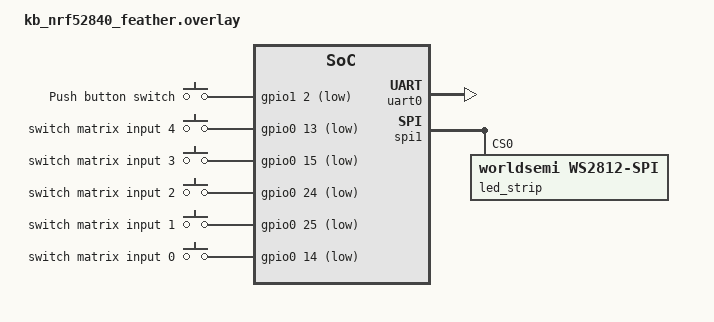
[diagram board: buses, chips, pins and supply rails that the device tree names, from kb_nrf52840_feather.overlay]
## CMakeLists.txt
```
#
# Copyright (c) 2019 Nordic Semiconductor ASA
#
# SPDX-License-Identifier: LicenseRef-Nordic-5-Clause
#
cmake_minimum_required(VERSION 3.20.0)

list(APPEND BOARD_ROOT ${CMAKE_CURRENT_SOURCE_DIR})
list(APPEND DTS_ROOT_BINDINGS ${CMAKE_CURRENT_SOURCE_DIR}/dts/bindings)
find_package(Zephyr REQUIRED HINTS $ENV{ZEPHYR_BASE})
project(peripheral_hids_keyboard)

FILE(GLOB app_sources src/*.c)
# NORDIC SDK APP START
target_sources(app PRIVATE ${app_sources})
# NORDIC SDK APP END

set(CMAKE_EXPORT_COMPILE_COMMANDS ON)

zephyr_library_include_directories(${ZEPHYR_BASE}/samples/bluetooth)

add_subdirectory(src/kb_ble)
```

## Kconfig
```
source "Kconfig.zephyr"

menu "KeyBird"

config KB_NAME_LEFT 
	string
	default "KeyBird Left"
	depends on KB_LEFT

config KB_NAME_RIGHT
	string 
	default "KeyBird Right"
	depends on KB_RIGHT

choice KEYBOARD_SIDE
	bool "Keyboard Side"
	default KB_LEFT

config KB_LEFT
	bool "Left"
config KB_RIGHT
	bool "Right"

endchoice

config BT_DEVICE_NAME 
	string
	default "KeyBird Left" if KB_LEFT
	default "KeyBird Right" if KB_RIGHT

endmenu
```

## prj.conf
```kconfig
CONFIG_NCS_SAMPLES_DEFAULTS=y

CONFIG_BT=y
CONFIG_LOG=y
CONFIG_BT_DEBUG_LOG=y
CONFIG_BT_CENTRAL=y
CONFIG_BT_PERIPHERAL=y
CONFIG_BT_MAX_CONN=2
CONFIG_BT_MAX_PAIRED=2
CONFIG_BT_KEYS_OVERWRITE_OLDEST=y
CONFIG_BT_SMP=y
CONFIG_BT_SMP_SC_PAIR_ONLY=y
CONFIG_BT_L2CAP_TX_BUF_COUNT=5
# CONFIG_KB_LEFT=y
# CONFIG_BT_DEVICE_NAME="KeyBird"
CONFIG_BT_DEVICE_APPEARANCE=961

#needed for BLE central
CONFIG_BT_GATT_CLIENT=y
CONFIG_BT_GATT_DM=y
CONFIG_HEAP_MEM_POOL_SIZE=2048
CONFIG_BT_HOGP=y #HID over GATT protocol

CONFIG_BT_SCAN=y
CONFIG_BT_SCAN_FILTER_ENABLE=y
CONFIG_BT_SCAN_UUID_CNT=1
CONFIG_BT_PRIVACY=y

#needed for BLE peripheral
CONFIG_BT_BAS=y
CONFIG_BT_HIDS=y
CONFIG_BT_HIDS_MAX_CLIENT_COUNT=1
CONFIG_BT_HIDS_DEFAULT_PERM_RW_ENCRYPT=y
CONFIG_BT_GATT_UUID16_POOL_SIZE=40
CONFIG_BT_GATT_CHRC_POOL_SIZE=20

CONFIG_BT_CONN_CTX=y

CONFIG_BT_DIS=y
CONFIG_BT_DIS_PNP=y
CONFIG_BT_DIS_MANUF="NordicSemiconductor"
CONFIG_BT_DIS_PNP_VID_SRC=2
CONFIG_BT_DIS_PNP_VID=0x1915
CONFIG_BT_DIS_PNP_PID=0xEEEF
CONFIG_BT_DIS_PNP_VER=0x0100

#doubled from 2048
CONFIG_SYSTEM_WORKQUEUE_STACK_SIZE=4096 

CONFIG_BT_SETTINGS=y
CONFIG_FLASH=y
CONFIG_FLASH_PAGE_LAYOUT=y
CONFIG_FLASH_MAP=y
CONFIG_NVS=y
CONFIG_SETTINGS=y

CONFIG_SPI=y
CONFIG_WS2812_STRIP_SPI=y
CONFIG_LED_STRIP=y
CONFIG_LED_STRIP_LOG_LEVEL_DBG=y
CONFIG_WS2812_STRIP=y



# CONFIG_DK_LIBRARY=y

CONFIG_LOG_DEFAULT_LEVEL=4

CONFIG_THREAD_MONITOR=y
CONFIG_INIT_STACKS=y
```

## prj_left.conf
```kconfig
CONFIG_KB_LEFT=y
CONFIG_BT_DEVICE_NAME="KeyBird Left"
```

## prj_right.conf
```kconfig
CONFIG_KB_RIGHT=y
CONFIG_BT_DEVICE_NAME="KeyBird Right"
```

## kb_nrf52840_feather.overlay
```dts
&uart0 {
    status = "ok"; 
};
&spi1 {
    status = "ok"; 
};
&i2c0 {
    status = "disabled"; 
};


/ {
	mtrxout {
        compatible = "kb-mtrx-out";
        swout0: sw_out_5{
            gpios = <&gpio0 27 GPIO_ACTIVE_LOW>;
            label = "switch matrix output 5"; 
        };
        swout1: sw_out_4{
            gpios = <&gpio0 26 GPIO_ACTIVE_LOW>;
            label = "switch matrix output 4"; 
        };
        swout2: sw_out_3{
            gpios = <&gpio0 7 GPIO_ACTIVE_LOW>;
            label = "switch matrix output 3"; 
        };
        swout3: sw_out_2{
            gpios = <&gpio1 8 GPIO_ACTIVE_LOW>;
            label = "switch matrix output 2"; 
        };
        swout4: sw_out_1{
            gpios = <&gpio0 11 GPIO_ACTIVE_LOW>;
            label = "switch matrix output 1"; 
        };
        swout5: sw_out_0{
            gpios = <&gpio0 12 GPIO_ACTIVE_LOW>;
            label = "switch matrix output 0"; 
        };
		pwr: pwr {
            gpios = <&gpio0 4 GPIO_ACTIVE_LOW>;
            label = "power"; 
        };
	};

	buttons {
		compatible = "gpio-keys";
		button0: button_0 {
			gpios = <&gpio1 2 (GPIO_PULL_UP | GPIO_ACTIVE_LOW)>;
			label = "Push button switch";
			zephyr,code = <INPUT_KEY_0>;
		};
        swin0: sw_in_4 {
            gpios = <&gpio0 13 (GPIO_PULL_UP| GPIO_ACTIVE_LOW)>; 
            label = "switch matrix input 4"; 
        };
        swin1: sw_in_3 {
            gpios = <&gpio0 15 (GPIO_PULL_UP| GPIO_ACTIVE_LOW)>; 
            label = "switch matrix input 3"; 
        };
        swin2: sw_in_2 {
            gpios = <&gpio0 24 (GPIO_PULL_UP| GPIO_ACTIVE_LOW)>; 
            label = "switch matrix input 2"; 
        };
        swin3: sw_in_1 {
            gpios = <&gpio0 25 (GPIO_PULL_UP| GPIO_ACTIVE_LOW)>; 
            label = "switch matrix input 1"; 
        };
        swin4: sw_in_0 {
            gpios = <&gpio0 14 (GPIO_PULL_UP | GPIO_ACTIVE_LOW)>; 
            label = "switch matrix input 0"; 
        };
	};
};


&pinctrl {
	uart0_default: uart0_default {
		group1 {
			psels = <NRF_PSEL(UART_TX, 1, 9)>,
				<NRF_PSEL(UART_RX, 0, 8)>;
		};
	};

	uart0_sleep: uart0_sleep {
		group1 {
			psels = <NRF_PSEL(UART_TX, 1, 9)>,
				<NRF_PSEL(UART_RX, 0, 8)>;
			low-power-enable;
		};
	};

    spi1_default: spi1_default {
        group1 {
            psels = <NRF_PSEL(SPIM_MOSI, 0, 16)>,
                <NRF_PSEL(SPIM_SCK, 0, 4)>,
                <NRF_PSEL(SPIM_MISO, 0, 5)>;    
        };
    };
    spi1_sleep: spi1_sleep {
        group1 {
            psels = <NRF_PSEL(SPIM_MOSI, 0, 16)>,
                <NRF_PSEL(SPIM_SCK, 0, 4)>,
                <NRF_PSEL(SPIM_MISO, 0, 5)>;    
        };
    };
};


#include <zephyr/dt-bindings/led/led.h>
#include "nrf52-bindings.h" 

&spi1 { 
	compatible = "nordic,nrf-spim";
	led_strip: ws2812@0 {
		compatible = "worldsemi,ws2812-spi";

		/* SPI */
		reg = <0>; /* ignored, but necessary for SPI bindings */
		spi-max-frequency = <SPI_FREQ>;

		/* WS2812 */
		chain-length = <16>; /* arbitrary; change at will */
		color-mapping = <LED_COLOR_ID_GREEN
				 LED_COLOR_ID_RED
				 LED_COLOR_ID_BLUE>;
		spi-one-frame = <ONE_FRAME>;
		spi-zero-frame = <ZERO_FRAME>;
	};
};

// &pinctrl {
// 	i2s0_default_alt: i2s0_default_alt {
// 		group1 {
// 			psels = <NRF_PSEL(I2S_SCK_M, 0, 20)>,
// 				<NRF_PSEL(I2S_LRCK_M, 0, 19)>,
// 				<NRF_PSEL(I2S_SDOUT, 0, 18)>,
// 				<NRF_PSEL(I2S_SDIN, 0, 21)>;
// 		};
// 	};
// };

// i2s_led: &i2s0 {
// 	status = "okay";
// 	pinctrl-0 = <&i2s0_default_alt>;
// 	pinctrl-names = "default";

// 	led_strip: ws2812@0 {
// 		compatible = "worldsemi,ws2812-i2s";
//         i2s-dev = <&i2s0>;

// 		reg = <0>;
// 		chain-length = <1>; /* arbitrary; change at will */
// 		color-mapping = <LED_COLOR_ID_GREEN
// 					LED_COLOR_ID_RED
// 					LED_COLOR_ID_BLUE>;
// 		out-active-low;
// 		reset-delay = <120>;
// 	};
// };

/ {
	aliases {
		led-strip = &led_strip;
	};
};
```

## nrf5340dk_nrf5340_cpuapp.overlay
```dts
// To get started, press Ctrl+Space to bring up the completion menu and view the available nodes.

// You can also use the buttons in the sidebar to perform actions on nodes.
// Actions currently available include:

// * Enabling / disabling the node
// * Adding the bus to a bus
// * Removing the node
// * Connecting ADC channels

// For more help, browse the DeviceTree documentation at https://docs.zephyrproject.org/latest/guides/dts/index.html
// You can also visit the nRF DeviceTree extension documentation at https://docs.nordicsemi.com/bundle/nrf-connect-vscode/page/guides/ncs_configure_app.html#devicetree-support-in-the-extension
/ {
    leds {
        leds4: led_4{
            gpios = <&gpio0 5 GPIO_ACTIVE_HIGH>;
            label = "External LED 1"; 
        };
    };
};
```

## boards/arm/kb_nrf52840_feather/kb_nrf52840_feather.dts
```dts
/*
 * Copyright (c) 2020 Tobias Svehagen
 *
 * SPDX-License-Identifier: Apache-2.0
 */

/dts-v1/;
#include <nordic/nrf52840_qiaa.dtsi>
#include "feather_connector.dtsi"
#include "kb_nrf52840_feather-pinctrl.dtsi"
#include <zephyr/dt-bindings/input/input-event-codes.h>

/ {
	model = "Adafruit Feather nRF52840 Express";
	compatible = "adafruit,feather-nrf52840";

	chosen {
		zephyr,console = &uart0;
		zephyr,shell-uart = &uart0;
		zephyr,uart-mcumgr = &uart0;
		zephyr,bt-mon-uart = &uart0;
		zephyr,bt-c2h-uart = &uart0;
		zephyr,sram = &sram0;
		zephyr,flash = &flash0;
		zephyr,code-partition = &slot0_partition;
		zephyr,ieee802154 = &ieee802154;
	};

	leds {
		compatible = "gpio-leds";
		led0: led_0 {
			gpios = <&gpio1 15 0>;
			label = "Red LED";
		};
		led1: led_1 {
			gpios = <&gpio1 10 0>;
			label = "Blue LED";
		};
	};

	vbatt {
		compatible = "voltage-divider";
		io-channels = <&adc 5>;
		output-ohms = <100000>;
		full-ohms = <(100000 + 100000)>;
	};

	/* These aliases are provided for compatibility with samples */
	aliases {
		led0 = &led0;
		led1 = &led1;
		sw0 = &button0;
		watchdog0 = &wdt0;
		spi-flash0 = &gd25q16;
	};
};

&adc {
	status = "okay";
};

&uicr {
	gpio-as-nreset;
};

&gpiote {
	status = "okay";
};

&gpio0 {
	status = "okay";
};

&gpio1 {
	status = "okay";
};

&uart0 {
	compatible = "nordic,nrf-uart";
	current-speed = <115200>;
	status = "okay";
	pinctrl-0 = <&uart0_default>;
	pinctrl-1 = <&uart0_sleep>;
	pinctrl-names = "default", "sleep";
};

&i2c0 {
	compatible = "nordic,nrf-twi";
	status = "okay";
	pinctrl-0 = <&i2c0_default>;
	pinctrl-1 = <&i2c0_sleep>;
	pinctrl-names = "default", "sleep";
};

&spi1 {
	compatible = "nordic,nrf-spi";
	status = "okay";
	pinctrl-0 = <&spi1_default>;
	pinctrl-1 = <&spi1_sleep>;
	pinctrl-names = "default", "sleep";
};

&qspi {
	status = "okay";
	pinctrl-0 = <&qspi_default>;
	pinctrl-1 = <&qspi_sleep>;
	pinctrl-names = "default", "sleep";
	gd25q16: gd25q16@0 {
		compatible = "nordic,qspi-nor";
		reg = <0>;
		writeoc = "pp4o";
		readoc = "read4io";
		sck-frequency = <16000000>;
		jedec-id = [c8 40 15];
		size = <16777216>;
		has-dpd;
		t-enter-dpd = <20000>;
		t-exit-dpd = <20000>;
		quad-enable-requirements = "S2B1v1";
	};
};

&ieee802154 {
	status = "okay";
};

&flash0 {

	partitions {
		compatible = "fixed-partitions";
		#address-cells = <1>;
		#size-cells = <1>;

		boot_partition: partition@0 {
			label = "mcuboot";
			reg = <0x00000000 0x0000C000>;
		};
		slot0_partition: partition@c000 {
			label = "image-0";
			reg = <0x0000C000 0x00067000>;
		};
		slot1_partition: partition@73000 {
			label = "image-1";
			reg = <0x00073000 0x00067000>;
		};
		scratch_partition: partition@da000 {
			label = "image-scratch";
			reg = <0x000da000 0x0001e000>;
		};

		/*
		 * The flash starting at 0x000f8000 and ending at
		 * 0x000fffff is reserved for use by the application.
		 */

		/* Storage partition will be used by FCB/NFFS/NVS if enabled. */
		storage_partition: partition@f8000 {
			label = "storage";
			reg = <0x000f8000 0x00008000>;
		};
	};
};

zephyr_udc0: &usbd {
	compatible = "nordic,nrf-usbd";
	status = "okay";
};
```

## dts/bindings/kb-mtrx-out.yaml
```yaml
# Copyright (c) 2018, Linaro Limited
# SPDX-License-Identifier: Apache-2.0

description: |
  This allows you to define a group of keyboard matrix outputs. Each output in the group is
  controlled by a GPIO. Each output is defined in a child node of the
  gpio-outputs node.

  Here is an example which defines three LEDs in the node /leds:

  / {
  	mtrxout {
  		compatible = "kb-mtrx-out";
  		mx_out1 {
  			gpios = <&gpio0 1 GPIO_ACTIVE_LOW>;
  		};
  		mx_out2 {
  			gpios = <&gpio0 2 GPIO_ACTIVE_HIGH>;
  		};
  		mx_out3 {
  			gpios = <&gpio1 15 (GPIO_PULL_UP | GPIO_ACTIVE_LOW)>;
  		};
  	};
  };

  Above:

  - led_0 is pin 1 on gpio0. The LED is on when the pin is low,
    and off when the pin is high.
  - led_1 is pin 2 on gpio0. The LED is on when the pin is high,
    and off when it is low.
  - led_2 is pin 15 on gpio1. The LED is on when the pin is low,
    and the pin's internal pull-up resistor should be enabled.

compatible: "kb-mtrx-out"

child-binding:
  description: GPIO keyboard matrix out child node
  properties:
    gpios:
      type: phandle-array
      required: true
    label:
      type: string
      description: |
        Human readable string describing the matrix output. It can be 
        used by an application to identify this keyboard matrix out 
        column or to retrieve its number/index (i.e. child node number) 
        on the parent device.
```

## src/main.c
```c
#include <hal/nrf_gpio.h>
#include <zephyr/bluetooth/bluetooth.h>
#include <zephyr/drivers/gpio.h>
#include <zephyr/kernel.h>
#include <zephyr/settings/settings.h>

// Neopixel library 
#include <zephyr/drivers/led_strip.h>
#include <zephyr/device.h>
#include <zephyr/drivers/spi.h>
#include <zephyr/sys/util.h>

#include "btns.h"
#include "kb_ble/kb_ble.h"
#include "kb_ble/kb_cent.h"
#include "kb_ble/kb_periph.h"


#define ADV_LED_BLINK_INTERVAL 1000

static const struct gpio_dt_spec adv_status_led = GPIO_DT_SPEC_GET(DT_NODELABEL(led1), gpios);

#define NEOPIXEL_NODE DT_ALIAS(led_strip)
#define NEOPIXEL_NUM_LEDS DT_PROP(DT_ALIAS(led_strip), chain_length)

#define RGB(_r, _g, _b) { .r = (_r), .g = (_g), .b = (_b) }
#define NEO_RED RGB(0x0f, 0x00, 0x00)

static const struct led_rgb colors[] = {
	RGB(0x0f, 0x00, 0x00), /* red */
	RGB(0x00, 0x0f, 0x00), /* green */
	RGB(0x00, 0x00, 0x0f), /* blue */
};

struct led_rgb pixels[NEOPIXEL_NUM_LEDS];

static const struct device *neopixels = DEVICE_DT_GET(NEOPIXEL_NODE);
static volatile const struct device *foo;  

int main(void) {
    int blink_status = 0;
    gpio_pin_configure_dt(&adv_status_led, GPIO_OUTPUT);

    foo  = neopixels;

	if (device_is_ready(neopixels)) {
        printk("Device ready\n");
	} else {
        printk("Device not ready\n");
	}

    pixels[0].b = 0x0f;
    pixels[0].g = 0x0f;
    pixels[0].r = 0x0f;

    int rc;
    while(1) {
        printk("Turning LED on...\n");
        rc = led_strip_update_rgb(neopixels, pixels, NEOPIXEL_NUM_LEDS);
        if(rc != 0) {
            printk("error\n"); 

        }
        
        k_sleep(K_MSEC(ADV_LED_BLINK_INTERVAL));
        printk("LED turned on\n");
    }

    // bt_enable must come before settings_load(); not 100% sure why, but bt_enable appears
    // to have a bt_settings_init usring similar macros
    // if (ble_init()) {
    //     return 0;
    // }

    // if (IS_ENABLED(CONFIG_SETTINGS)) {
    //     printk("loading settings\n");
    //     settings_load();
    // }
    // kb_periph_init();
    // printk("Intialized HID keyboard device\n");
    // kb_cent_init();
    // printk("Initialize HOGP\n");

    // printk("Bluetooth initialized\n");
    // btns_init();


    for (;;) {
        if (kb_periph_is_adv()) {
            gpio_pin_set_dt(&adv_status_led, (++blink_status) % 2);
        } else {
            gpio_pin_set_dt(&adv_status_led, 0);
        }
        k_sleep(K_MSEC(ADV_LED_BLINK_INTERVAL));
        /* Battery level simulation */
        kb_periph_bas_notify();
    }
}
```

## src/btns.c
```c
#include "btns.h"

#include <hal/nrf_gpio.h>
#include <zephyr/drivers/gpio.h>
#include <zephyr/kernel.h>
#include <zephyr/sys/printk.h>

#include "common.h"
#include "kb_ble/kb_cent.h"
#include "kb_ble/kb_hid_common.h"
#include "kb_ble/kb_periph.h"
#include "scan_codes.h"

#define GPIO_NODE_0 DT_NODELABEL(gpio0)
#define GPIO_NAME_0 DEVICE_DT_NAME(GPIO_NODE_0)

#define GPIO_NODE_1 DT_NODELABEL(gpio1)
#define GPIO_NAME_1 DEVICE_DT_NAME(GPIO_NODE_1)

#define KEY_MATRIX_OUT_COUNT 6
#define KEY_MATRIX_IN_COUNT 5
#define SLEEP_TIME_MS 2


static struct k_work_delayable btn_scan_work;

static const struct gpio_dt_spec pwr_pin = GPIO_DT_SPEC_GET(DT_NODELABEL(pwr), gpios);
static const struct gpio_dt_spec usr_btn = GPIO_DT_SPEC_GET(DT_NODELABEL(button0), gpios);

static const struct gpio_dt_spec key_mtrx_in[KEY_MATRIX_IN_COUNT];
static const struct gpio_dt_spec key_mtrx_out[KEY_MATRIX_OUT_COUNT];

static kb_key_t key_mtrx[KEY_MATRIX_IN_COUNT][KEY_MATRIX_OUT_COUNT];

static const struct gpio_dt_spec key_mtrx_in[KEY_MATRIX_IN_COUNT] = {
    GPIO_DT_SPEC_GET(DT_NODELABEL(swin0), gpios),
    GPIO_DT_SPEC_GET(DT_NODELABEL(swin1), gpios),
    GPIO_DT_SPEC_GET(DT_NODELABEL(swin2), gpios),
    GPIO_DT_SPEC_GET(DT_NODELABEL(swin3), gpios),
    GPIO_DT_SPEC_GET(DT_NODELABEL(swin4), gpios),
    };

#define SCAN_BEGIN SCN_CD_RESERVED2 
#define SCAN_ACCEPT SCN_CD_RESERVED3 
#define ADV_BEGIN SCN_CD_RESERVED4 
#define ADV_ACCEPT SCN_CD_RESERVED5

#define IS_BLE_SCN_CD(scn_cd) (((scn_cd) == SCAN_BEGIN) || \
                            ((scn_cd) == SCAN_ACCEPT) || \
                            ((scn_cd) == ADV_BEGIN) || \
                            ((scn_cd) == ADV_ACCEPT) )

#ifdef CONFIG_KB_RIGHT 
// This is because SOMEBODY designed the hardware stupidly. 
// On right board the cols go from left #define SCN_CD_ERR_ROLL_OVER 0x01Uto right, on left board the cols go from right to left
static const struct gpio_dt_spec key_mtrx_out[KEY_MATRIX_OUT_COUNT] = {
    GPIO_DT_SPEC_GET(DT_NODELABEL(swout0), gpios),
    GPIO_DT_SPEC_GET(DT_NODELABEL(swout1), gpios),
    GPIO_DT_SPEC_GET(DT_NODELABEL(swout2), gpios),
    GPIO_DT_SPEC_GET(DT_NODELABEL(swout3), gpios),
    GPIO_DT_SPEC_GET(DT_NODELABEL(swout4), gpios),
    GPIO_DT_SPEC_GET(DT_NODELABEL(swout5), gpios),
    };

static kb_key_t key_mtrx[KEY_MATRIX_IN_COUNT][KEY_MATRIX_OUT_COUNT] = {
    {{ADV_ACCEPT, 0}, {ADV_BEGIN, 0}, {SCAN_BEGIN, 0}, {SCAN_ACCEPT, 0}, {KEY_H, 0}, {KEY_H, 0}},
    {{KEY_Y, 0}, {KEY_U, 0}, {KEY_I, 0}, {KEY_O, 0}, {KEY_P, 0}, {KEY_H, 0}},
    {{KEY_H, 0}, {KEY_J, 0}, {KEY_K, 0}, {KEY_L, 0}, {KEY_H, 0}, {KEY_H, 0}},
    {{KEY_N, 0}, {KEY_M, 0}, {KEY_H, 0}, {KEY_LSHIFT, 0}, {KEY_H, 0}, {KEY_H, 0}},
    {{KEY_LSHIFT, 0}, {KEY_SPACE, 0}, {KEY_RCTRL, 0}, {KEY_I, 0}, {KEY_J, 0}, {KEY_K, 0}},
    };

#elif CONFIG_KB_LEFT
// See, in keyboard left this goes from 5 to 0, whereas in keyboard right it goes from 5 to 0
static const struct gpio_dt_spec key_mtrx_out[KEY_MATRIX_OUT_COUNT] = {
    GPIO_DT_SPEC_GET(DT_NODELABEL(swout5), gpios),
    GPIO_DT_SPEC_GET(DT_NODELABEL(swout4), gpios),
    GPIO_DT_SPEC_GET(DT_NODELABEL(swout3), gpios),
    GPIO_DT_SPEC_GET(DT_NODELABEL(swout2), gpios),
    GPIO_DT_SPEC_GET(DT_NODELABEL(swout1), gpios),
    GPIO_DT_SPEC_GET(DT_NODELABEL(swout0), gpios),
    };

static kb_key_t key_mtrx[KEY_MATRIX_IN_COUNT][KEY_MATRIX_OUT_COUNT] = {
    {{SCN_CD_H, 0}, {SCN_CD_H, 0}, {SCAN_ACCEPT, 0}, {SCAN_BEGIN, 0}, {ADV_BEGIN, 0}, {ADV_ACCEPT, 0}},
    {{SCN_CD_H, 0}, {SCN_CD_Q, 0}, {SCN_CD_W, 0}, {SCN_CD_E, 0}, {SCN_CD_R, 0}, {SCN_CD_T, 0}},
    {{SCN_CD_H, 0}, {SCN_CD_A, 0}, {SCN_CD_S, 0}, {SCN_CD_D, 0}, {SCN_CD_F, 0}, {SCN_CD_G, 0}},
    {{SCN_CD_H, 0}, {SCN_CD_Z, 0}, {SCN_CD_X, 0}, {SCN_CD_V, 0}, {SCN_CD_B, 0}, {SCN_CD_C, 0}},
    {{SCN_CD_I, 0}, {SCN_CD_J, 0}, {SCN_CD_K, 0}, {SCN_CD_RET, 0}, {SCN_CD_SPACE, 0}, {SCN_CD_H, 0}},
    };
#endif

static void key_gpios_init() {
    for (size_t i = 0; i < KEY_MATRIX_OUT_COUNT; i++) {
        gpio_pin_configure_dt(&key_mtrx_out[i], GPIO_OUTPUT);
    }
    gpio_pin_configure_dt(&pwr_pin, GPIO_OUTPUT);

    for (size_t i = 0; i < KEY_MATRIX_IN_COUNT; i++) {
        gpio_pin_configure_dt(&key_mtrx_in[i], GPIO_INPUT);
    }

    gpio_pin_configure_dt(&usr_btn, GPIO_INPUT);

    for (size_t i = 0; i < KEY_MATRIX_OUT_COUNT; i++) {
        gpio_pin_set_dt(&key_mtrx_out[i], 0);
    }
    gpio_pin_set_dt(&pwr_pin, 1);
}

static void special_key_handler(kb_key_t *key) {
    if (!key->is_pressed) {
        return;
    }
    switch (key->scan_code) {
        case (ADV_ACCEPT):
            kb_periph_accept_pairing();
            break;
        case (ADV_BEGIN):
            kb_periph_adv_start();
            break;
        case (SCAN_BEGIN):
            kb_cent_scan_start();
            break;
        case (SCAN_ACCEPT):
            cent_pairing_accept();
            break;
        default:
            break;
    }
}

static void btn_scan() {
    static size_t scan_col = 0;
    volatile int btn_pressed;
    bool key_changed = 0;

    gpio_pin_set_dt(&key_mtrx_out[scan_col], 0);
    if (scan_col < KEY_MATRIX_OUT_COUNT - 1) {
        scan_col++;
    } else {
        scan_col = 0;
    }
    gpio_pin_set_dt(&key_mtrx_out[scan_col], 1);

    k_sleep(K_MSEC(SLEEP_TIME_MS));

    for (uint16_t row = 0; row < KEY_MATRIX_IN_COUNT; row++) {
        btn_pressed = gpio_pin_get(key_mtrx_in[row].port, key_mtrx_in[row].pin);
        if (key_mtrx[row][scan_col].is_pressed != btn_pressed) {
            key_mtrx[row][scan_col].is_pressed = btn_pressed;

            if (IS_BLE_SCN_CD(key_mtrx[row][scan_col].scan_code)) {
                special_key_handler(&key_mtrx[row][scan_col]);
            } else {
                kb_hid_set_key_evt(&(key_mtrx[row][scan_col]));
                key_changed = true;
            }
        }
    }

    if (key_changed) {
        kb_periph_hid_notify();
    }

    k_work_reschedule(&btn_scan_work, K_MSEC(SLEEP_TIME_MS));
}

void btns_init() {
    key_gpios_init();
    k_work_init_delayable(&btn_scan_work, btn_scan);
    k_work_schedule(&btn_scan_work, K_NO_WAIT);
}
```

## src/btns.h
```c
#ifndef KEYS
#define KEYS

#include "common.h"
#include <stdint.h>

void btns_init(); 

#endif
```

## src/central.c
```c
// #include <bluetooth/services/hogp.h>
// #include "central.h"

// static struct bt_hogp hogp; 

// static K_WORK_DEFINE(hids_ready_work, hids_on_ready); 


// static uint8_t hogp_notify_cb(struct bt_hogp *hogp, struct bt_hogp_rep_info *rep, uint8_t err, const uint8_t *data) {
//     uint8_t size = bt_hogp_rep_size(rep); 

//     if(!data) {
//         return BT_GATT_ITER_STOP; 
//     }
//     printk("Notification, id: %u, size %u, data", 
//         bt_hogp_rep_id(rep), size); 
    
//     for(uint8_t i = 0; i < size; ++i) {
//         printk(" 0x%x", data[i]); 
//     }
//     printk("\n"); 
//     return BT_GATT_ITER_CONTINUE; 
// }

// static void hids_on_ready(struct k_work *work) {
//     int err; 
//     struct bt_hogp_rep_info *rep = NULL; 

//     printk("HIDS is ready to wrok\n");

 
//     while (NULL != (rep = bt_hogp_rep_next(&hogp, rep))) { // cool trick. Didn't know this syntax worked. rep is compared to NULL
//         if(bt_hogp_rep_type(rep) == BT_HIDS_REPORT_TYPE_INPUT) {
//             printk("subscript to report id: %u\n", bt_hogp_rep_id(rep));
//             err = bt_hogp_rep_subscribe(&hogp, rep, hogp_notify_cb); 
//             if(err) {
//                 printk("subscribe error (%d)\n", err); 
//             }
//         }
   
//     }
// }


// static void hogp_ready_cb(struct bt_hogp *hogp) {
//     k_work_submit(&hids_ready_work); 
// }

// /* HIDS client initialization parameters */
// const struct bt_hogp_init_params hogp_init_params = {
//     .ready_cb = hogp_ready_cb, 
//     .prep_error_cb = hogp_prep_fail_cb, 
//     .pm_update_cb = hogp_pm_update
// } 

// int main(void) {
//     int err; 
//     printk("Starting BLE Central HIDS"); 
//     bt_hogp_init(&hogp, &hogp_init_params); 
// }
```

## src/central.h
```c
#ifndef KB_BLE_CENTRAL 
#define KB_BLE_CENTRAL 


#endif
```

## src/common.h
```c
#ifndef COMMON
#define COMMON

#define KB_RIGHT 0
#define KB_LEFT 1

#define CIRCULAR_INCREMENT(i, min, max) \
    do {                                \
        if (i < max) {                  \
            i++;                        \
        } else {                        \
            i = min;                    \
        }                               \
    } while (0)

typedef void (*void_void_func)(void);

#endif
```

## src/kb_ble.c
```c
#include <zephyr/types.h>
#include <stddef.h>
#include <string.h>
#include <errno.h>
#include <zephyr/sys/printk.h>
#include <zephyr/sys/byteorder.h>
#include <zephyr/kernel.h>
#include <zephyr/drivers/gpio.h>
#include <soc.h>
#include <assert.h>
#include <zephyr/spinlock.h>

#include <zephyr/settings/settings.h>

#include <zephyr/bluetooth/bluetooth.h>
#include <zephyr/bluetooth/hci.h>
#include <zephyr/bluetooth/conn.h>
#include <zephyr/bluetooth/uuid.h>
#include <zephyr/bluetooth/gatt.h>

#include <zephyr/bluetooth/services/bas.h>
#include <bluetooth/services/hids.h>
#include <zephyr/bluetooth/services/dis.h>
#include <dk_buttons_and_leds.h>

#include "kb_ble.h"

#define DEVICE_NAME     CONFIG_BT_DEVICE_NAME
#define DEVICE_NAME_LEN (sizeof(DEVICE_NAME) - 1)

#define BASE_USB_HID_SPEC_VERSION   0x0101

#define OUTPUT_REPORT_MAX_LEN            1
#define OUTPUT_REPORT_BIT_MASK_CAPS_LOCK 0x02
#define INPUT_REP_KEYS_REF_ID            0
#define OUTPUT_REP_KEYS_REF_ID           0
#define MODIFIER_KEY_POS                 0
#define SHIFT_KEY_CODE                   0x02
#define SCAN_CODE_POS                    2
#define KEYS_MAX_LEN                    (INPUT_REPORT_KEYS_MAX_LEN - \
					SCAN_CODE_POS)

#define ADV_LED_BLINK_INTERVAL  1000

#define CON_STATUS_LED DK_LED2
#define LED_CAPS_LOCK  DK_LED3
#define NFC_LED	       DK_LED4
#define KEY_TEXT_MASK  DK_BTN1_MSK
#define KEY_SHIFT_MASK DK_BTN2_MSK
#define KEY_ADV_MASK   DK_BTN4_MSK

/* Key used to accept or reject passkey value */
#define KEY_PAIRING_ACCEPT DK_BTN1_MSK
#define KEY_PAIRING_REJECT DK_BTN2_MSK

/* HIDs queue elements. */
#define HIDS_QUEUE_SIZE 10

/* ********************* */
/* Buttons configuration */

/* Note: The configuration below is the same as BOOT mode configuration
 * This simplifies the code as the BOOT mode is the same as REPORT mode.
 * Changing this configuration would require separate implementation of
 * BOOT mode report generation.
 */
#define KEY_CTRL_CODE_MIN 224 /* Control key codes - required 8 of them */
#define KEY_CTRL_CODE_MAX 231 /* Control key codes - required 8 of them */
#define KEY_CODE_MIN      0   /* Normal key codes */
#define KEY_CODE_MAX      101 /* Normal key codes */
#define KEY_PRESS_MAX     6   /* Maximum number of non-control keys
			       * pressed simultaneously
			       */

/* Number of bytes in key report
 *
 * 1B - control keys
 * 1B - reserved
 * rest - non-control keys
 */
#define INPUT_REPORT_KEYS_MAX_LEN (1 + 1 + KEY_PRESS_MAX)

/* Current report map construction requires exactly 8 buttons */
BUILD_ASSERT((KEY_CTRL_CODE_MAX - KEY_CTRL_CODE_MIN) + 1 == 8);

/* OUT report internal indexes.
 *
 * This is a position in internal report table and is not related to
 * report ID.
 */
enum {
	OUTPUT_REP_KEYS_IDX = 0
};

/* INPUT report internal indexes.
 *
 * This is a position in internal report table and is not related to
 * report ID.
 */
enum {
	INPUT_REP_KEYS_IDX = 0
};

/* HIDS instance. */
BT_HIDS_DEF(hids_obj,
	    OUTPUT_REPORT_MAX_LEN,
	    INPUT_REPORT_KEYS_MAX_LEN);

static volatile bool is_adv;

static const struct bt_data ad[] = {
	BT_DATA_BYTES(BT_DATA_GAP_APPEARANCE,
		      (CONFIG_BT_DEVICE_APPEARANCE >> 0) & 0xff,
		      (CONFIG_BT_DEVICE_APPEARANCE >> 8) & 0xff),
	BT_DATA_BYTES(BT_DATA_FLAGS, (BT_LE_AD_GENERAL | BT_LE_AD_NO_BREDR)),
	BT_DATA_BYTES(BT_DATA_UUID16_ALL, BT_UUID_16_ENCODE(BT_UUID_HIDS_VAL),
					  BT_UUID_16_ENCODE(BT_UUID_BAS_VAL)),
};

static const struct bt_data sd[] = {
	BT_DATA(BT_DATA_NAME_COMPLETE, DEVICE_NAME, DEVICE_NAME_LEN),
};

static struct conn_mode {
	struct bt_conn *conn;
	bool in_boot_mode;
} conn_mode[CONFIG_BT_HIDS_MAX_CLIENT_COUNT];

static const uint8_t hello_world_str[] = {
	0x0b,	/* Key h */
	0x08,	/* Key e */
	0x0f,	/* Key l */
	0x0f,	/* Key l */
	0x12,	/* Key o */
	0x1E,   /* Key 1/! */	
	0x28,	/* Key Return */
};

static const uint8_t shift_key[] = { 225 };

/* Current report status
 */
static struct keyboard_state {
	uint8_t ctrl_keys_state; /* Current keys state */
	uint8_t keys_state[KEY_PRESS_MAX];
} hid_keyboard_state;


static struct k_work pairing_work;
struct pairing_data_mitm {
	struct bt_conn *conn;
	unsigned int passkey;
};

K_MSGQ_DEFINE(mitm_queue,
	      sizeof(struct pairing_data_mitm),
	      CONFIG_BT_HIDS_MAX_CLIENT_COUNT,
	      4);

static void advertising_start(void)
{
	int err;
	struct bt_le_adv_param *adv_param = BT_LE_ADV_PARAM(
						BT_LE_ADV_OPT_CONNECTABLE |
						BT_LE_ADV_OPT_ONE_TIME, // test this: will not start advertising after disconnect. 
						BT_GAP_ADV_FAST_INT_MIN_2, // 160*0.625ms=100ms minimal interval for fast advertising
						BT_GAP_ADV_FAST_INT_MAX_2, // maximum interval for fast adertising
						NULL);

	err = bt_le_adv_start(adv_param, ad, ARRAY_SIZE(ad), sd,
			      ARRAY_SIZE(sd));
	if (err) {
		if (err == -EALREADY) {
			printk("Advertising continued\n");
		} else {
			printk("Advertising failed to start (err %d)\n", err);
		}

		return;
	}

	is_adv = true;
	printk("Advertising successfully started\n");
}


static void pairing_process(struct k_work *work)
{
	int err;
	struct pairing_data_mitm pairing_data;

	char addr[BT_ADDR_LE_STR_LEN];

	err = k_msgq_peek(&mitm_queue, &pairing_data);
	if (err) {
		return;
	}

	bt_addr_le_to_str(bt_conn_get_dst(pairing_data.conn),
			  addr, sizeof(addr));

	printk("Passkey for %s: %06u\n", addr, pairing_data.passkey);
	printk("Press Button 1 to confirm, Button 2 to reject.\n");
}


static void connected(struct bt_conn *conn, uint8_t err)
{
	char addr[BT_ADDR_LE_STR_LEN];

	bt_addr_le_to_str(bt_conn_get_dst(conn), addr, sizeof(addr));

	if (err) {
		printk("Failed to connect to %s (%u)\n", addr, err);
		return;
	}

	printk("Connected %s\n", addr);
	dk_set_led_on(CON_STATUS_LED);

	err = bt_hids_connected(&hids_obj, conn);

	if (err) {
		printk("Failed to notify HID service about connection\n");
		return;
	}

	for (size_t i = 0; i < CONFIG_BT_HIDS_MAX_CLIENT_COUNT; i++) {
		if (!conn_mode[i].conn) {
			conn_mode[i].conn = conn;
			conn_mode[i].in_boot_mode = false;
			break;
		}
	}

	is_adv = false;
}


static void disconnected(struct bt_conn *conn, uint8_t reason)
{
	int err;
	bool is_any_dev_connected = false;
	char addr[BT_ADDR_LE_STR_LEN];

	bt_addr_le_to_str(bt_conn_get_dst(conn), addr, sizeof(addr));

	printk("Disconnected from %s (reason %u)\n", addr, reason);

	err = bt_hids_disconnected(&hids_obj, conn);

	if (err) {
		printk("Failed to notify HID service about disconnection\n");
	}

	for (size_t i = 0; i < CONFIG_BT_HIDS_MAX_CLIENT_COUNT; i++) {
		if (conn_mode[i].conn == conn) {
			conn_mode[i].conn = NULL;
		} else {
			if (conn_mode[i].conn) {
				is_any_dev_connected = true;
			}
		}
	}

	if (!is_any_dev_connected) {
		dk_set_led_off(CON_STATUS_LED);
	}

	advertising_start();
}


static void security_changed(struct bt_conn *conn, bt_security_t level,
			     enum bt_security_err err)
{
	char addr[BT_ADDR_LE_STR_LEN];

	bt_addr_le_to_str(bt_conn_get_dst(conn), addr, sizeof(addr));

	if (!err) {
		printk("Security changed: %s level %u\n", addr, level);
	} else {
		// note: 
		//call stack for this function on failure 
		// bt_conn_security_changed()
		// smp_pairing_complete()
		// bt_smp_recv()
		// l2cap_chan_recv()
		// bt_l2cap_recv()
		// bt_acl_recv()
		// bt_conn_recv()
		// hci_acl()
		// rx_work_handler()
		// ... 
		// BT RX thread
		printk("Security failed: %s level %u err %d\n", addr, level,
			err);
	}
}


BT_CONN_CB_DEFINE(conn_callbacks) = {
	.connected = connected,
	.disconnected = disconnected,
	.security_changed = security_changed,
};

// static struct bt_conn_cb conn_callbacks = {
// 	.connected = connected, 
// 	.disconnected = disconnected, 
// 	.security_changed = security_changed,
// };

static void caps_lock_handler(const struct bt_hids_rep *rep)
{
	uint8_t report_val = ((*rep->data) & OUTPUT_REPORT_BIT_MASK_CAPS_LOCK) ?
			  1 : 0;
	dk_set_led(LED_CAPS_LOCK, report_val);
}


static void hids_outp_rep_handler(struct bt_hids_rep *rep,
				  struct bt_conn *conn,
				  bool write)
{
	char addr[BT_ADDR_LE_STR_LEN];

	if (!write) {
		printk("Output report read\n");
		return;
	};

	bt_addr_le_to_str(bt_conn_get_dst(conn), addr, sizeof(addr));
	printk("Output report has been received %s\n", addr);
	caps_lock_handler(rep);
}


static void hids_boot_kb_outp_rep_handler(struct bt_hids_rep *rep,
					  struct bt_conn *conn,
					  bool write)
{
	char addr[BT_ADDR_LE_STR_LEN];

	if (!write) {
		printk("Output report read\n");
		return;
	};

	bt_addr_le_to_str(bt_conn_get_dst(conn), addr, sizeof(addr));
	printk("Boot Keyboard Output report has been received %s\n", addr);
	caps_lock_handler(rep);
}


static void hids_pm_evt_handler(enum bt_hids_pm_evt evt,
				struct bt_conn *conn)
{
	char addr[BT_ADDR_LE_STR_LEN];
	size_t i;

	for (i = 0; i < CONFIG_BT_HIDS_MAX_CLIENT_COUNT; i++) {
		if (conn_mode[i].conn == conn) {
			break;
		}
	}

	if (i >= CONFIG_BT_HIDS_MAX_CLIENT_COUNT) {
		printk("Cannot find connection handle when processing PM");
		return;
	}

	bt_addr_le_to_str(bt_conn_get_dst(conn), addr, sizeof(addr));

	switch (evt) {
	case BT_HIDS_PM_EVT_BOOT_MODE_ENTERED:
		printk("Boot mode entered %s\n", addr);
		conn_mode[i].in_boot_mode = true;
		break;

	case BT_HIDS_PM_EVT_REPORT_MODE_ENTERED:
		printk("Report mode entered %s\n", addr);
		conn_mode[i].in_boot_mode = false;
		break;

	default:
		break;
	}
}


static void hid_init(void)
{
	int err;
	struct bt_hids_init_param    hids_init_obj = { 0 };
	struct bt_hids_inp_rep       *hids_inp_rep;
	struct bt_hids_outp_feat_rep *hids_outp_rep;

	static const uint8_t report_map[] = {
		0x05, 0x01,       /* Usage Page (Generic Desktop) */
		0x09, 0x06,       /* Usage (Keyboard) */
		0xA1, 0x01,       /* Collection (Application) */

		/* Keys */
#if INPUT_REP_KEYS_REF_ID
		0x85, INPUT_REP_KEYS_REF_ID,
#endif
		0x05, 0x07,       /* Usage Page (Key Codes) */
		0x19, 0xe0,       /* Usage Minimum (224) */
		0x29, 0xe7,       /* Usage Maximum (231) */
		0x15, 0x00,       /* Logical Minimum (0) */
		0x25, 0x01,       /* Logical Maximum (1) */
		0x75, 0x01,       /* Report Size (1) */
		0x95, 0x08,       /* Report Count (8) */
		0x81, 0x02,       /* Input (Data, Variable, Absolute) */

		0x95, 0x01,       /* Report Count (1) */
		0x75, 0x08,       /* Report Size (8) */
		0x81, 0x01,       /* Input (Constant) reserved byte(1) */

		0x95, 0x06,       /* Report Count (6) */
		0x75, 0x08,       /* Report Size (8) */
		0x15, 0x00,       /* Logical Minimum (0) */
		0x25, 0x65,       /* Logical Maximum (101) */
		0x05, 0x07,       /* Usage Page (Key codes) */
		0x19, 0x00,       /* Usage Minimum (0) */
		0x29, 0x65,       /* Usage Maximum (101) */
		0x81, 0x00,       /* Input (Data, Array) Key array(6 bytes) */

		/* LED */
#if OUTPUT_REP_KEYS_REF_ID
		0x85, OUTPUT_REP_KEYS_REF_ID,
#endif
		0x95, 0x05,       /* Report Count (5) */
		0x75, 0x01,       /* Report Size (1) */
		0x05, 0x08,       /* Usage Page (Page# for LEDs) */
		0x19, 0x01,       /* Usage Minimum (1) */
		0x29, 0x05,       /* Usage Maximum (5) */
		0x91, 0x02,       /* Output (Data, Variable, Absolute), */
				  /* Led report */
		0x95, 0x01,       /* Report Count (1) */
		0x75, 0x03,       /* Report Size (3) */
		0x91, 0x01,       /* Output (Data, Variable, Absolute), */
				  /* Led report padding */

		0xC0              /* End Collection (Application) */
	};

	hids_init_obj.rep_map.data = report_map;
	hids_init_obj.rep_map.size = sizeof(report_map);

	hids_init_obj.info.bcd_hid = BASE_USB_HID_SPEC_VERSION;
	hids_init_obj.info.b_country_code = 0x00;
	hids_init_obj.info.flags = (BT_HIDS_REMOTE_WAKE |
				    BT_HIDS_NORMALLY_CONNECTABLE);

	hids_inp_rep =
		&hids_init_obj.inp_rep_group_init.reports[INPUT_REP_KEYS_IDX];
	hids_inp_rep->size = INPUT_REPORT_KEYS_MAX_LEN;
	hids_inp_rep->id = INPUT_REP_KEYS_REF_ID;
	hids_init_obj.inp_rep_group_init.cnt++;

	hids_outp_rep =
		&hids_init_obj.outp_rep_group_init.reports[OUTPUT_REP_KEYS_IDX];
	hids_outp_rep->size = OUTPUT_REPORT_MAX_LEN;
	hids_outp_rep->id = OUTPUT_REP_KEYS_REF_ID;
	hids_outp_rep->handler = hids_outp_rep_handler;
	hids_init_obj.outp_rep_group_init.cnt++;

	hids_init_obj.is_kb = true;
	hids_init_obj.boot_kb_outp_rep_handler = hids_boot_kb_outp_rep_handler;
	hids_init_obj.pm_evt_handler = hids_pm_evt_handler;

	err = bt_hids_init(&hids_obj, &hids_init_obj);
	__ASSERT(err == 0, "HIDS initialization failed\n");
}

static void auth_passkey_display(struct bt_conn *conn, unsigned int passkey)
{
	char addr[BT_ADDR_LE_STR_LEN];

	bt_addr_le_to_str(bt_conn_get_dst(conn), addr, sizeof(addr));

	printk("Passkey for %s: %06u\n", addr, passkey);
}

static void auth_passkey_confirm(struct bt_conn *conn, unsigned int passkey)
{
	int err;

	struct pairing_data_mitm pairing_data;

	pairing_data.conn    = bt_conn_ref(conn);
	pairing_data.passkey = passkey;

	err = k_msgq_put(&mitm_queue, &pairing_data, K_NO_WAIT);
	if (err) {
		printk("Pairing queue is full. Purge previous data.\n");
	}

	/* In the case of multiple pairing requests, trigger
	 * pairing confirmation which needed user interaction only
	 * once to avoid display information about all devices at
	 * the same time. Passkey confirmation for next devices will
	 * be proccess from queue after handling the earlier ones.
	 */
	if (k_msgq_num_used_get(&mitm_queue) == 1) {
		k_work_submit(&pairing_work);
	}
}


static void auth_cancel(struct bt_conn *conn)
{
	char addr[BT_ADDR_LE_STR_LEN];

	bt_addr_le_to_str(bt_conn_get_dst(conn), addr, sizeof(addr));

	printk("Pairing cancelled: %s\n", addr);
}


static void pairing_complete(struct bt_conn *conn, bool bonded)
{
	char addr[BT_ADDR_LE_STR_LEN];

	bt_addr_le_to_str(bt_conn_get_dst(conn), addr, sizeof(addr));

	printk("Pairing completed: %s, bonded: %d\n", addr, bonded);
}


static void pairing_failed(struct bt_conn *conn, enum bt_security_err reason)
{
	char addr[BT_ADDR_LE_STR_LEN];
	struct pairing_data_mitm pairing_data;

	if (k_msgq_peek(&mitm_queue, &pairing_data) != 0) {
		return;
	}

	if (pairing_data.conn == conn) {
		bt_conn_unref(pairing_data.conn);
		k_msgq_get(&mitm_queue, &pairing_data, K_NO_WAIT);
	}

	bt_addr_le_to_str(bt_conn_get_dst(conn), addr, sizeof(addr));

	printk("Pairing failed conn: %s, reason %d\n", addr, reason);
}


// Using Just works pairing.
// To add more secure and advanced pairing, can add auth_passkey_confirm and auth_passkey_display
static struct bt_conn_auth_cb conn_auth_callbacks = {
	.passkey_display = auth_passkey_display,
	.passkey_confirm = auth_passkey_confirm,
	.cancel = auth_cancel,
};

static struct bt_conn_auth_info_cb conn_auth_info_callbacks = {
	.pairing_complete = pairing_complete,
	.pairing_failed = pairing_failed
};


/** @brief Function process keyboard state and sends it
 *
 *  @param pstate     The state to be sent
 *  @param boot_mode  Information if boot mode protocol is selected.
 *  @param conn       Connection handler
 *
 *  @return 0 on success or negative error code.
 */
static int key_report_con_send(const struct keyboard_state *state,
			bool boot_mode,
			struct bt_conn *conn)
{
	int err = 0;
	uint8_t  data[INPUT_REPORT_KEYS_MAX_LEN];
	uint8_t *key_data;
	const uint8_t *key_state;
	size_t n;

	data[0] = state->ctrl_keys_state;
	data[1] = 0;
	key_data = &data[2];
	key_state = state->keys_state;

	for (n = 0; n < KEY_PRESS_MAX; ++n) {
		*key_data++ = *key_state++;
	}
	if (boot_mode) {
		err = bt_hids_boot_kb_inp_rep_send(&hids_obj, conn, data,
							sizeof(data), NULL);
	} else {
		err = bt_hids_inp_rep_send(&hids_obj, conn,
						INPUT_REP_KEYS_IDX, data,
						sizeof(data), NULL);
	}
	return err;
}

/** @brief Function process and send keyboard state to all active connections
 *
 * Function process global keyboard state and send it to all connected
 * clients.
 *
 * @return 0 on success or negative error code.
 */
static int key_report_send(void)
{
	for (size_t i = 0; i < CONFIG_BT_HIDS_MAX_CLIENT_COUNT; i++) {
		if (conn_mode[i].conn) {
			int err;

			err = key_report_con_send(&hid_keyboard_state,
						  conn_mode[i].in_boot_mode,
						  conn_mode[i].conn);
			if (err) {
				printk("Key report send error: %d\n", err);
				return err;
			}
		}
	}
	return 0;
}

/** @brief Change key code to ctrl code mask
 *
 *  Function changes the key code to the mask in the control code
 *  field inside the raport.
 *  Returns 0 if key code is not a control key.
 *
 *  @param key Key code
 *
 *  @return Mask of the control key or 0.
 */
static uint8_t button_ctrl_code(uint8_t key)
{
	if (KEY_CTRL_CODE_MIN <= key && key <= KEY_CTRL_CODE_MAX) {
		return (uint8_t)(1U << (key - KEY_CTRL_CODE_MIN));
	}
	return 0;
}


static int hid_kbd_state_key_set(uint8_t key)
{
	uint8_t ctrl_mask = button_ctrl_code(key);

	if (ctrl_mask) {
		hid_keyboard_state.ctrl_keys_state |= ctrl_mask;
		return 0;
	}
	for (size_t i = 0; i < KEY_PRESS_MAX; ++i) {
		if (hid_keyboard_state.keys_state[i] == 0) {
			hid_keyboard_state.keys_state[i] = key;
			return 0;
		}
	}
	/* All slots busy */
	return -EBUSY;
}


static int hid_kbd_state_key_clear(uint8_t key)
{
	uint8_t ctrl_mask = button_ctrl_code(key);

	if (ctrl_mask) {
		hid_keyboard_state.ctrl_keys_state &= ~ctrl_mask;
		return 0;
	}
	for (size_t i = 0; i < KEY_PRESS_MAX; ++i) {
		if (hid_keyboard_state.keys_state[i] == key) {
			hid_keyboard_state.keys_state[i] = 0;
			return 0;
		}
	}
	/* Key not found */
	return -EINVAL;
}

/** @brief Press a button and send report
 *
 *  @note Functions to manipulate hid state are not reentrant
 *  @param keys
 *  @param cnt
 *
 *  @return 0 on success or negative error code.
 */
static int hid_buttons_press(const uint8_t *keys, size_t cnt)
{
	while (cnt--) {
		int err;

		err = hid_kbd_state_key_set(*keys++);
		if (err) {
			printk("Cannot set selected key.\n");
			return err;
		}
	}

	return key_report_send();
}

/** @brief Release the button and send report
 *
 *  @note Functions to manipulate hid state are not reentrant
 *  @param keys
 *  @param cnt
 *
 *  @return 0 on success or negative error code.
 */
static int hid_buttons_release(const uint8_t *keys, size_t cnt)
{
	while (cnt--) {
		int err;

		err = hid_kbd_state_key_clear(*keys++);
		if (err) {
			printk("Cannot clear selected key.\n");
			return err;
		}
	}

	return key_report_send();
}


static void button_text_changed(bool down)
{
	static const uint8_t *chr = hello_world_str;

	if (down) {
		hid_buttons_press(chr, 1);
	} else {
		hid_buttons_release(chr, 1);
		if (++chr == (hello_world_str + sizeof(hello_world_str))) {
			chr = hello_world_str;
			printk("!\n");
		}
	}
}


static void button_shift_changed(bool down)
{
	if (down) {
		hid_buttons_press(shift_key, 1);
	} else {
		hid_buttons_release(shift_key, 1);
	}
}


static void num_comp_reply(bool accept)
{
	struct pairing_data_mitm pairing_data;
	struct bt_conn *conn;

	if (k_msgq_get(&mitm_queue, &pairing_data, K_NO_WAIT) != 0) {
		return;
	}

	conn = pairing_data.conn;

	if (accept) {
		bt_conn_auth_passkey_confirm(conn);
		printk("Numeric Match, conn %p\n", conn);
	} else {
		bt_conn_auth_cancel(conn);
		printk("Numeric Reject, conn %p\n", conn);
	}

	bt_conn_unref(pairing_data.conn);

	if (k_msgq_num_used_get(&mitm_queue)) {
		k_work_submit(&pairing_work);
	}
}


static void button_changed(uint32_t button_state, uint32_t has_changed)
{
	static bool pairing_button_pressed;

	uint32_t buttons = button_state & has_changed;

	if (k_msgq_num_used_get(&mitm_queue)) {
		if (buttons & KEY_PAIRING_ACCEPT) {
			pairing_button_pressed = true;
			num_comp_reply(true);

			return;
		}

		if (buttons & KEY_PAIRING_REJECT) {
			pairing_button_pressed = true;
			num_comp_reply(false);

			return;
		}
	}

	/* Do not take any action if the pairing button is released. */
	if (pairing_button_pressed &&
	    (has_changed & (KEY_PAIRING_ACCEPT | KEY_PAIRING_REJECT))) {
		pairing_button_pressed = false;

		return;
	}

	if (has_changed & KEY_TEXT_MASK) {
		button_text_changed((button_state & KEY_TEXT_MASK) != 0);
	}
	if (has_changed & KEY_SHIFT_MASK) {
		button_shift_changed((button_state & KEY_SHIFT_MASK) != 0);
	}
}


static void configure_gpio(void)
{
	int err;

	err = dk_buttons_init(button_changed);
	if (err) {
		printk("Cannot init buttons (err: %d)\n", err);
	}
}

void kb_ble_key_event(const uint8_t *scan_code, int state) {
	if (state) {
		hid_buttons_press(scan_code, 1);
	} else {
		hid_buttons_release(scan_code, 1);
	}
}

// move to 
void kb_ble_bas_notify(void)
{
	uint8_t battery_level = bt_bas_get_battery_level();

	battery_level--;

	if (!battery_level) {
		battery_level = 100U;
	}

	bt_bas_set_battery_level(battery_level);
}

bool kb_ble_is_adv() {
	return is_adv;
}

void kb_ble_accept_pairing() {
	if (k_msgq_num_used_get(&mitm_queue)) {
		num_comp_reply(true);
	}
}

void kb_ble_init() {
	int err;

	printk("Starting Bluetooth Peripheral HIDS keyboard example\n");

	// configure_gpio();

	err = bt_conn_auth_cb_register(&conn_auth_callbacks);
	if (err) {
		printk("Failed to register authorization callbacks.\n");
	}

	err = bt_conn_auth_info_cb_register(&conn_auth_info_callbacks);
	if (err) {
		printk("Failed to register authorization info callbacks.\n");
	}

	hid_init();

	err = bt_enable(NULL);
	if (err) {
		printk("Bluetooth init failed (err %d)\n", err);
	}
	// temp placed here
	// bt_conn_cb_register(&conn_callbacks);	

	printk("Bluetooth initialized\n");

	if (IS_ENABLED(CONFIG_SETTINGS)) {
		settings_load();
	}

	advertising_start();

	k_work_init(&pairing_work, pairing_process);
}
```

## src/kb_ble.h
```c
#ifndef KB_BLE 
#define KB_BLE 

void kb_ble_key_event(const uint8_t *scan_code, int state); 
void kb_ble_bas_notify(void);
bool kb_ble_is_adv(void); 
void kb_ble_accept_pairing(); 
void kb_ble_init(void); 
#endif
```

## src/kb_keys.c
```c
#include <zephyr/kernel.h>
#include <zephyr/drivers/gpio.h>
#include <zephyr/sys/printk.h>
#include <hal/nrf_gpio.h>
#include "utils.h"
#include "scan_codes.h"
#include "kb_keys.h"

#define GPIO_NODE_0 DT_NODELABEL(gpio0)
#define GPIO_NAME_0 DEVICE_DT_NAME(GPIO_NODE_0) 

#define GPIO_NODE_1 DT_NODELABEL(gpio1)
#define GPIO_NAME_1 DEVICE_DT_NAME(GPIO_NODE_1) 

#define KEY_MATRIX_OUT_COUNT 4
#define KEY_MATRIX_IN_COUNT 4
#define SLEEP_TIME_MS 2 

typedef struct _kybrd_key_{
    uint8_t scan_code; 
    int state; 
}kybrd_key_t; 

static struct k_work_delayable key_mtrx_scan;
static uint8_t mtrx_col_active; 
static key_change_cb key_cb; 
static vv_cb cent_pairing_cb;
static vv_cb periph_pairing_cb;
static vv_cb advertising_cb;
static vv_cb scanning_cb;

static const struct gpio_dt_spec test_led = GPIO_DT_SPEC_GET(DT_NODELABEL(led0), gpios);
static const struct gpio_dt_spec pwr_pin = GPIO_DT_SPEC_GET(DT_NODELABEL(pwr), gpios);
static const struct gpio_dt_spec usr_btn = GPIO_DT_SPEC_GET(DT_NODELABEL(button0), gpios);

static const struct gpio_dt_spec key_mtrx_out[KEY_MATRIX_OUT_COUNT] = {
    GPIO_DT_SPEC_GET(DT_NODELABEL(swout0), gpios),
    GPIO_DT_SPEC_GET(DT_NODELABEL(swout1), gpios),
    GPIO_DT_SPEC_GET(DT_NODELABEL(swout2), gpios),
    GPIO_DT_SPEC_GET(DT_NODELABEL(swout3), gpios)
};

static const struct gpio_dt_spec key_mtrx_in[KEY_MATRIX_IN_COUNT] = {
    GPIO_DT_SPEC_GET(DT_NODELABEL(swin0), gpios),
    GPIO_DT_SPEC_GET(DT_NODELABEL(swin1), gpios),
    GPIO_DT_SPEC_GET(DT_NODELABEL(swin2), gpios),
    GPIO_DT_SPEC_GET(DT_NODELABEL(swin3), gpios)
};

kybrd_key_t scan_code_mtrx[KEY_MATRIX_OUT_COUNT][KEY_MATRIX_IN_COUNT] = {
    {{PERIPH_PAIRING_ACCEPT, 0}, {ADV_START, 0}, {SCAN_START, 0}, {CENT_PAIRING_ACCEPT, 0}}, 
    {{KEY_E, 0}, {KEY_F, 0},{KEY_G, 0},{KEY_H, 0}}, 
    {{KEY_I, 0}, {KEY_J, 0},{KEY_K, 0},{KEY_L, 0}}, 
    {{KEY_N, 0}, {KEY_O, 0},{KEY_P, 0},{KEY_LSHIFT, 0}} 
}; 


static void key_gpios_init() {
    // gpio_pin_configure_dt(&test_led, GPIO_OUTPUT); 
    for(uint16_t i = 0; i < KEY_MATRIX_OUT_COUNT; i++) {
        gpio_pin_configure_dt(&key_mtrx_out[i], GPIO_OUTPUT);
    }
    gpio_pin_configure_dt(&pwr_pin, GPIO_OUTPUT);


    for(uint16_t i = 0; i < KEY_MATRIX_IN_COUNT; i++) {
        gpio_pin_configure_dt(&key_mtrx_in[i], GPIO_INPUT);
    }
    
    gpio_pin_configure_dt(&usr_btn, GPIO_INPUT);

    for(uint16_t i = 0; i < KEY_MATRIX_OUT_COUNT; i++) {
        gpio_pin_set_dt(&key_mtrx_out[i], 0);
    }
    gpio_pin_set_dt(&pwr_pin, 1);
}


static void key_mtrx_scan_fn() {
    int btn_pressed; 

    gpio_pin_set_dt(&key_mtrx_out[mtrx_col_active], 0);
    if(mtrx_col_active < KEY_MATRIX_OUT_COUNT -1) {
        mtrx_col_active++; 
    }
    else{
        mtrx_col_active = 0; 
    }
    gpio_pin_set_dt(&key_mtrx_out[mtrx_col_active], 1);

    for(uint16_t j = 0; j < KEY_MATRIX_IN_COUNT; j++) {
        btn_pressed = gpio_pin_get(key_mtrx_in[j].port, key_mtrx_in[j].pin); 
        if(scan_code_mtrx[j][mtrx_col_active].state != btn_pressed) {
            //gpio_pin_set_dt(&test_led, btn_pressed); 
            if(scan_code_mtrx[j][mtrx_col_active].scan_code == CENT_PAIRING_ACCEPT && cent_pairing_cb) {
                cent_pairing_cb(); 
            }
            else if(scan_code_mtrx[j][mtrx_col_active].scan_code == PERIPH_PAIRING_ACCEPT && periph_pairing_cb) {
                periph_pairing_cb();
            }
            else if (scan_code_mtrx[j][mtrx_col_active].scan_code == SCAN_START && scanning_cb) {
                scanning_cb();
            }
            else if (scan_code_mtrx[j][mtrx_col_active].scan_code == ADV_START && advertising_cb) {
                advertising_cb();
            }
            else if(key_cb) {
                key_cb(&scan_code_mtrx[j][mtrx_col_active].scan_code, btn_pressed);
            }
            scan_code_mtrx[j][mtrx_col_active].state = btn_pressed;    
        }
    }

    // if(gpio_pin_get(usr_btn.port, usr_btn.pin)) {
    //     printk("Pairing btn pressed\n"); 
    //     periph_pairing_cb(); 
    // }

	k_work_reschedule(&key_mtrx_scan, K_MSEC(SLEEP_TIME_MS));
}

void kb_keys_init(key_change_cb new_key_cb, vv_cb pp_cb, vv_cb a_cb, vv_cb s_cb, vv_cb cp_cb) {
    key_cb = new_key_cb; 
    periph_pairing_cb = pp_cb;
    advertising_cb = a_cb;
    scanning_cb = s_cb;
    cent_pairing_cb = cp_cb;
    
    key_gpios_init(); 
	k_work_init_delayable(&key_mtrx_scan, key_mtrx_scan_fn);
	k_work_schedule(&key_mtrx_scan, K_NO_WAIT);
}
```

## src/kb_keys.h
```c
#ifndef KEYS
#define KEYS
#include <stdint.h>

#define SCAN_START 0xF0
#define ADV_START 0xF1
#define CENT_PAIRING_ACCEPT 0xF2
#define PERIPH_PAIRING_ACCEPT 0xF3


typedef void (*key_change_cb)(const uint8_t *, int);
typedef void(*vv_cb)(void);

void kb_keys_init(key_change_cb new_key_cb, vv_cb pp_cb, vv_cb a_cb, vv_cb s_cb, vv_cb cp_cb); 

#endif
```

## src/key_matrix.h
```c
#ifndef KEYS
#define KEYS

#include <stdint.h>

#include "common.h"

void btns_init();

#endif
```
